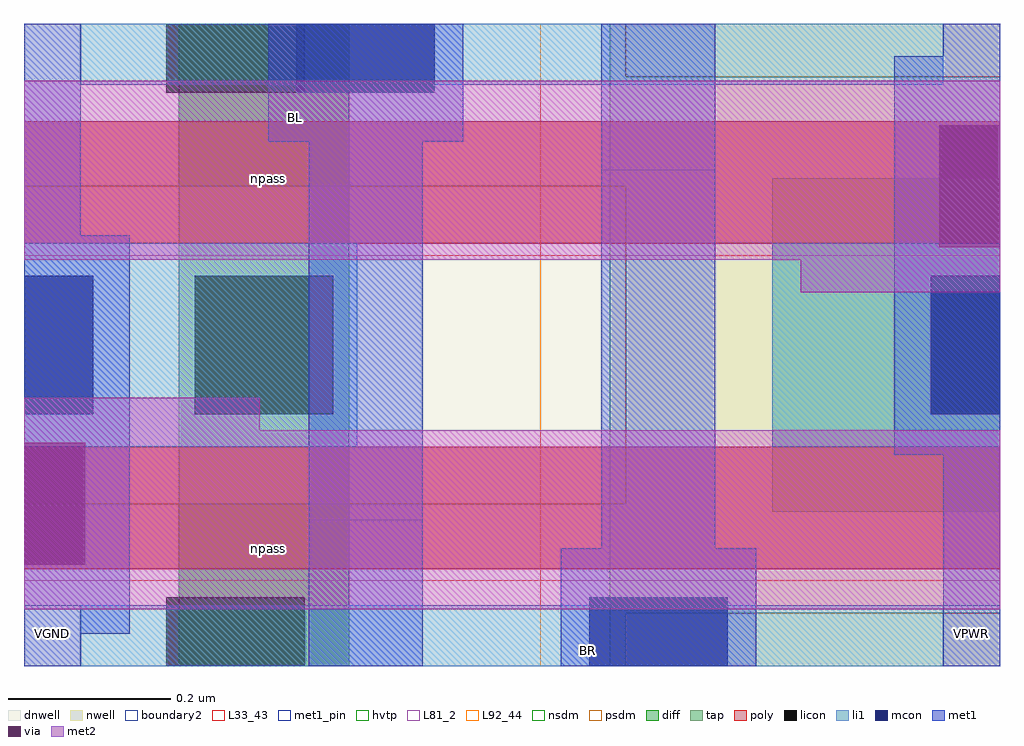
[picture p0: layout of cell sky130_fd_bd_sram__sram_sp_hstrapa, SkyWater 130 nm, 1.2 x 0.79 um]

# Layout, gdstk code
import gdstk
lib = gdstk.Library(unit=1e-6, precision=1e-09)
def R(c, l, rs):  # rectangles x0, y0, x1, y1
    for r in rs: c.add(gdstk.rectangle(r[:2], r[2:], *l))
def P(c, l, *ps):  # polygons
    for p in ps: c.add(gdstk.Polygon(p, *l))
L33_43 = (33, 43)
dnwell = (64, 18)
nwell = (64, 20)
diff = (65, 20)
tap = (65, 44)
poly = (66, 20)
licon = (66, 44)
li1 = (67, 20)
mcon = (67, 44)
met1_pin = (68, 16)
met1 = (68, 20)
via = (68, 44)
met2 = (69, 20)
hvtp = (78, 44)
L81_2 = (81, 2)
L92_44 = (92, 44)
nsdm = (93, 44)
psdm = (94, 20)
boundary2 = (236, 0)

sky130_fd_bd_sram__sram_ = lib.new_cell('sky130_fd_bd_sram__sram_sp_hstrapa')
R(sky130_fd_bd_sram__sram_, L33_43, [(0,0.105,1.2,0.12), (0,0.505,1.2,0.52)])
R(sky130_fd_bd_sram__sram_, dnwell, [(0,0,1.2,0.79)])
R(sky130_fd_bd_sram__sram_, nwell, [(0.72,0,1.2,0.79)])
R(sky130_fd_bd_sram__sram_, diff, [(0.19,0,0.4,0.2), (0.19,0.59,0.4,0.79)])
R(sky130_fd_bd_sram__sram_, tap, [(0.92,0.19,1.2,0.6), (0.19,0.2,0.4,0.59)])
R(sky130_fd_bd_sram__sram_, poly, [(0,0.12,1.2,0.27), (0,0.52,1.2,0.67)])
R(sky130_fd_bd_sram__sram_, licon, [(0.175,0,0.345,0.085), (0.21,0.31,0.38,0.48), (1.115,0.31,1.2,0.48), (0.175,0.705,0.345,0.79)])
R(sky130_fd_bd_sram__sram_, li1, [(0.07,0,1.13,0.075), (0,0.27,0.41,0.52), (0.92,0.27,1.2,0.52), (0.07,0.715,1.13,0.79)])
R(sky130_fd_bd_sram__sram_, mcon, [(0.695,0,0.865,0.085), (0,0.31,0.085,0.48), (1.115,0.31,1.2,0.48), (0.335,0.705,0.505,0.79)])
R(sky130_fd_bd_sram__sram_, met1_pin, [(0,0,0.07,0.075), (0.35,0,0.49,0.18), (1.13,0,1.2,0.075), (0.71,0.61,0.85,0.79)])
R(sky130_fd_bd_sram__sram_, met1, [(0,0,0.07,0.04), (0.35,0,0.49,0.645), (0.66,0,0.9,0.145), (1.13,0,1.2,0.26), (0,0.04,0.13,0.21), (0.71,0.145,0.85,0.79), (0,0.21,0.13,0.53), (1.07,0.26,1.2,0.58), (0,0.53,0.07,0.79), (1.07,0.58,1.2,0.75), (0.3,0.645,0.54,0.79), (1.13,0.75,1.2,0.79)])
R(sky130_fd_bd_sram__sram_, via, [(0,0.125,0.075,0.275), (1.125,0.515,1.2,0.665)])
P(sky130_fd_bd_sram__sram_, met2, [(0,0.07),(0,0.33),(0.29,0.33),(0.29,0.29),(1.2,0.29),(1.2,0.07)],
  [(0.955,0.46),(0.955,0.5),(0,0.5),(0,0.72),(1.2,0.72),(1.2,0.46)])
R(sky130_fd_bd_sram__sram_, hvtp, [(0.72,0,1.2,0.79)])
R(sky130_fd_bd_sram__sram_, L81_2, [(0,0,1.2,0.79)])
R(sky130_fd_bd_sram__sram_, L92_44, [(0.635,0,1.2,0.79)])
R(sky130_fd_bd_sram__sram_, nsdm, [(0,0,0.74,0.2), (0.74,0.065,1.2,0.725), (0,0.59,0.74,0.79)])
R(sky130_fd_bd_sram__sram_, psdm, [(0.74,0,1.2,0.065), (0,0.2,0.74,0.59), (0.74,0.725,1.2,0.79)])
R(sky130_fd_bd_sram__sram_, boundary2, [(0,0,1.2,0.79)])
sky130_fd_bd_sram__sram_.add(gdstk.Label('BL', (0.334,0.675), layer=68, texttype=5))
sky130_fd_bd_sram__sram_.add(gdstk.Label('BR', (0.693,0.019), layer=68, texttype=5))
sky130_fd_bd_sram__sram_.add(gdstk.Label('VGND', (0.035,0.04), layer=68, texttype=5))
sky130_fd_bd_sram__sram_.add(gdstk.Label('VPWR', (1.165,0.04), layer=68, texttype=5))
sky130_fd_bd_sram__sram_.add(gdstk.Label('npass', (0.3,0.6), layer=66, texttype=83))
sky130_fd_bd_sram__sram_.add(gdstk.Label('npass', (0.3,0.145), layer=66, texttype=83))

lib.write_gds('sky130_fd_bd_sram__sram_sp_hstrapa.gds')
